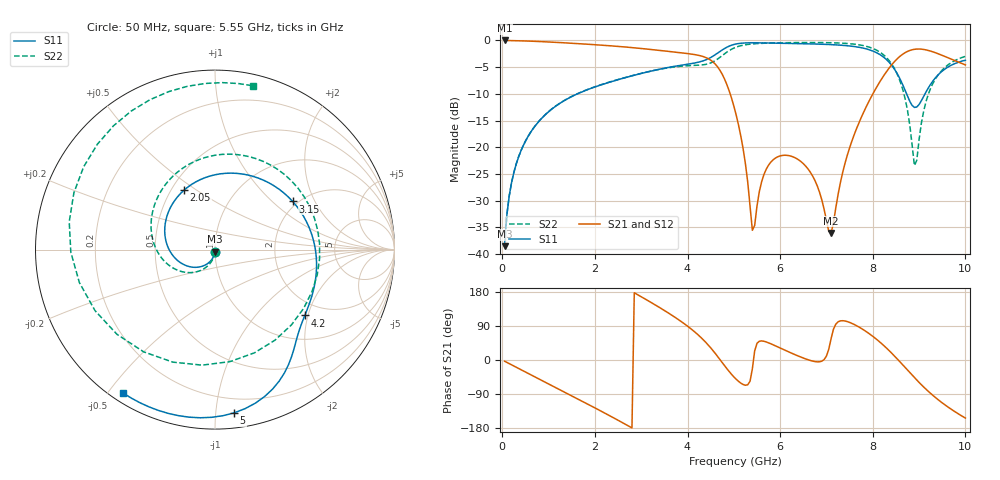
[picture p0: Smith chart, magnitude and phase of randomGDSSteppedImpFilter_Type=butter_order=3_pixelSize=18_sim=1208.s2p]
! freq	dB(S11)	phase(S11)	dB(S12)	phase(S12)
!  dB(S21)	phase(S21)	dB(S22)	phase(S22)
!S-par simulation data
#  GHz  S  DB  R 50
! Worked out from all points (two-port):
!   200 points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, 50 MHz to 10 GHz, reference 50 ohm
!   highest |S21| = -0.01 dB at 50 MHz (marker M1); lowest = -36.0 dB at 7.1 GHz (marker M2)
!   |S21| within 3 dB of the highest: start of sweep to 4.331 GHz; 8.584 GHz to 9.556 GHz (972.8 MHz wide, 10.7 % of centre)
!   lowest |S11| = -38.5 dB at 50 MHz (marker M3), VSWR 1.02, Z = 49.9 - j1.18 ohm
!   |S11| at or under -10 dB: start of sweep to 1.623 GHz; 8.729 GHz to 9.128 GHz (399 MHz wide, 4.47 % of centre)
!   |S22| runs from -38.5 to -0.4 dB; largest |S21 - S12| = 0
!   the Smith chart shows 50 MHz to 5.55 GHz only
!   S11 on the Smith chart (normalised r, x): 50 MHz: 1.00, -0.02; 2.05 GHz: 0.58, +0.44; 3.15 GHz: 1.88, +1.36; 4.2 GHz: 1.60, -1.91; 5 GHz: 0.10, -1.12; 5.55 GHz: 0.03, -0.55
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0.05  -38.52 -92.8  -0.01 -3.2  -0.01 -3.2  -38.49 -91.7
0.2  -26.63 -104.4  -0.03 -12.8  -0.03 -12.8  -26.61 -100.9
0.5  -18.87 -126.5  -0.10 -31.7  -0.10 -31.7  -18.84 -117.8
1.75  -9.53 140.9  -0.66 -110.4  -0.66 -110.4  -9.49 176.9
2.05  -8.56 117.7  -0.83 -129.6  -0.83 -129.6  -8.52 161.7
3.15  -5.86 31.8  -1.64 156.4  -1.64 156.4  -5.86 99.9
3.4  -5.38 13.4  -1.87 138.2  -1.87 138.2  -5.40 82.2
4.2  -4.14 -36.3  -2.72 69.5  -2.72 69.5  -4.66 -5.0
4.65  -2.37 -57.5  -4.96 9.3  -4.96 9.3  -3.48 -110.6
5  -0.76 -83.3  -12.29 -44.5  -12.29 -44.5  -1.44 158.0
5.05  -0.66 -87.3  -13.95 -50.7  -13.95 -50.7  -1.26 147.7
5.4  -0.44 -112.7  -35.54 -23.1  -35.54 -23.1  -0.66 93.4
5.55  -0.45 -122.6  -28.32 49.4  -28.32 49.4  -0.57 76.8
6  -0.53 -150.4  -21.62 31.7  -21.62 31.7  -0.44 38.7
6.7  -0.66 165.5  -25.36 -2.9  -25.36 -2.9  -0.39 -4.6
7.1  -0.78 136.8  -36.04 56.3  -36.04 56.3  -0.43 -26.4
7.75  -1.36 79.4  -14.44 83.5  -14.44 83.5  -0.89 -63.6
8.35  -4.06 9.8  -5.21 25.2  -5.21 25.2  -3.74 -111.2
8.7  -9.39 -23.5  -2.28 -20.0  -2.28 -20.0  -10.96 -153.7
8.9  -12.55 -13.9  -1.66 -46.5  -1.66 -46.5  -23.43 126.1
9.25  -8.20 -8.6  -2.00 -88.3  -2.00 -88.3  -8.94 -3.0
10  -3.72 -78.9  -4.59 -153.2  -4.59 -153.2  -2.99 -52.8
